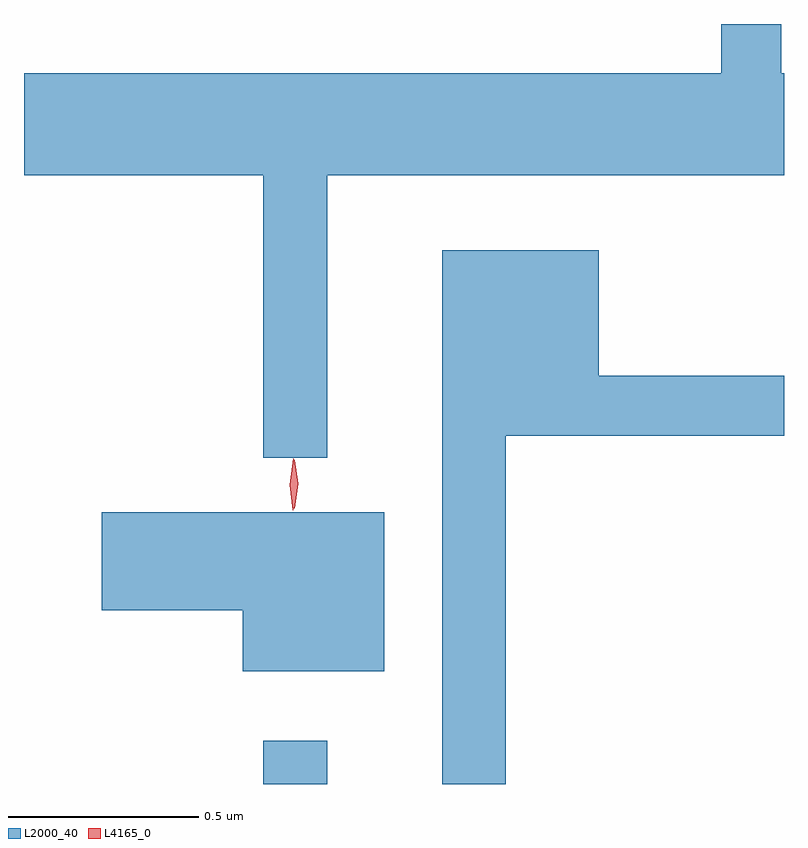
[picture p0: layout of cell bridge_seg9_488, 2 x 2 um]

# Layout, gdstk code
import gdstk
lib = gdstk.Library(unit=1e-6, precision=1e-09)
def R(c, l, rs):  # rectangles x0, y0, x1, y1
    for r in rs: c.add(gdstk.rectangle(r[:2], r[2:], *l))
def P(c, l, *ps):  # polygons
    for p in ps: c.add(gdstk.Polygon(p, *l))
L2000_40 = (2000, 40)
L4165_0 = (4165, 0)

bridge_seg9_488 = lib.new_cell('bridge_seg9_488')
R(bridge_seg9_488, L2000_40, [(656.391,1996.874,656.559,1996.988)])
P(bridge_seg9_488, L2000_40, [(656.559,1998.476),(657.761,1998.476),(657.761,1998.744),(657.754,1998.744),(657.754,1998.874),(657.596,1998.874),(657.596,1998.744),(655.761,1998.744),(655.761,1998.476),(656.391,1998.476),(656.391,1997.733),(656.559,1997.733)],
  [(657.029,1997.791),(657.761,1997.791),(657.761,1997.949),(657.274,1997.949),(657.274,1998.279),(656.861,1998.279),(656.861,1996.874),(657.029,1996.874)],
  [(656.709,1997.589),(655.966,1997.589),(655.966,1997.331),(656.336,1997.331),(656.336,1997.171),(656.709,1997.171)])
P(bridge_seg9_488, L4165_0, [(656.468,1997.594),(656.46,1997.662),(656.47,1997.73),(656.47,1997.73),(656.471,1997.73),(656.48,1997.662),(656.469,1997.594),(656.469,1997.594)],
  [(656.472,1997.6),(656.463,1997.664),(656.472,1997.726),(656.473,1997.727),(656.473,1997.726),(656.483,1997.664),(656.473,1997.6),(656.473,1997.6)])

lib.write_gds('bridge_seg9_488.gds')
